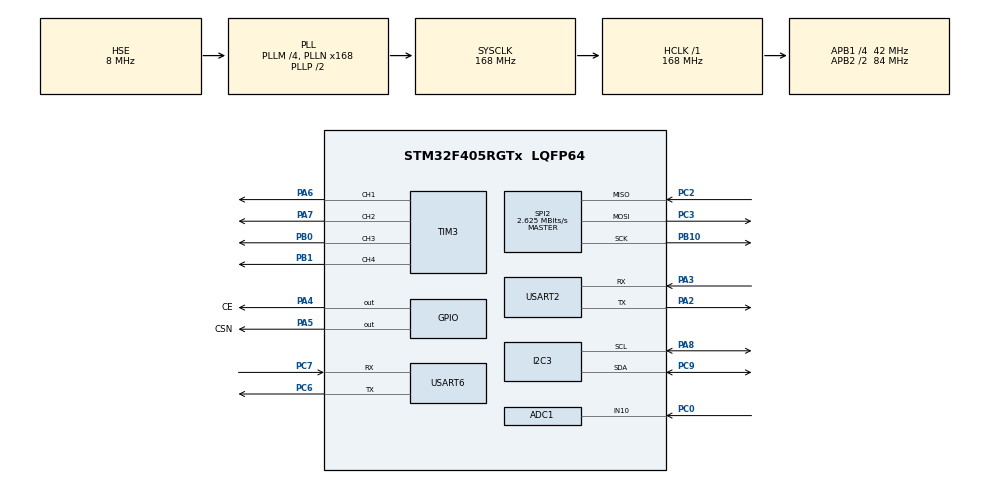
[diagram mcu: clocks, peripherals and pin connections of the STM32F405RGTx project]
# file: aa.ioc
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ADC1.Channel-0\#ChannelRegularConversion=ADC_CHANNEL_10
ADC1.NbrOfConversionFlag=1
ADC1.Rank-0\#ChannelRegularConversion=1
ADC1.SamplingTime-0\#ChannelRegularConversion=ADC_SAMPLETIME_3CYCLES
ADC1.master=1
Mcu.Family=STM32F4
Mcu.Name=STM32F405RGTx
Mcu.Package=LQFP64
NVIC.I2C3_EV_IRQn=true\:0\:0\:true\:false\:true
NVIC.PriorityGroup=NVIC_PRIORITYGROUP_4
NVIC.TIM7_IRQn=true\:0\:0\:false\:false\:true
NVIC.USART2_IRQn=true\:6\:0\:true\:false\:true
NVIC.USART6_IRQn=true\:6\:0\:true\:false\:true
PA2.Mode=Asynchronous
PA2.Signal=USART2_TX
PA3.Mode=Asynchronous
PA3.Signal=USART2_RX
PA4.GPIO_Label=CE
PA4.Signal=GPIO_Output
PA5.GPIO_Label=CSN
PA5.Signal=GPIO_Output
PA6.Signal=S_TIM3_CH1
PA7.Signal=S_TIM3_CH2
PA8.Mode=I2C
PA8.Signal=I2C3_SCL
PB0.Signal=S_TIM3_CH3
PB1.Signal=S_TIM3_CH4
PB10.Mode=Full_Duplex_Master
PB10.Signal=SPI2_SCK
PC0.Signal=ADCx_IN10
PC2.Mode=Full_Duplex_Master
PC2.Signal=SPI2_MISO
PC3.Mode=Full_Duplex_Master
PC3.Signal=SPI2_MOSI
PC6.Mode=Asynchronous
PC6.Signal=USART6_TX
PC7.Mode=Asynchronous
PC7.Signal=USART6_RX
PC9.Mode=I2C
PC9.Signal=I2C3_SDA
PH0-OSC_IN.Mode=HSE-External-Oscillator
PH0-OSC_IN.Signal=RCC_OSC_IN
PH1-OSC_OUT.Mode=HSE-External-Oscillator
PH1-OSC_OUT.Signal=RCC_OSC_OUT
ProjectManager.HeapSize=0x200
ProjectManager.StackSize=0x400
ProjectManager.TargetToolchain=EWARM
RCC.48MHZClocksFreq_Value=84000000
RCC.AHBFreq_Value=168000000
RCC.APB1CLKDivider=RCC_HCLK_DIV4
RCC.APB1Freq_Value=42000000
RCC.APB1TimFreq_Value=84000000
RCC.APB2CLKDivider=RCC_HCLK_DIV2
RCC.APB2Freq_Value=84000000
RCC.APB2TimFreq_Value=168000000
RCC.CortexFreq_Value=168000000
RCC.HCLKFreq_Value=168000000
RCC.HSE_VALUE=8000000
RCC.HSI_VALUE=16000000
RCC.LSE_VALUE=32768
RCC.PLLM=4
RCC.PLLN=168
RCC.PLLSourceVirtual=RCC_PLLSOURCE_HSE
RCC.SYSCLKFreq_VALUE=168000000
RCC.SYSCLKSource=RCC_SYSCLKSOURCE_PLLCLK
RCC.VCOOutputFreq_Value=336000000
SH.ADCx_IN10.0=ADC1_IN10,IN10
SH.S_TIM3_CH1.0=TIM3_CH1,PWM Generation1 CH1
SH.S_TIM3_CH2.0=TIM3_CH2,PWM Generation2 CH2
SH.S_TIM3_CH3.0=TIM3_CH3,PWM Generation3 CH3
SH.S_TIM3_CH4.0=TIM3_CH4,PWM Generation4 CH4
SPI2.BaudRatePrescaler=SPI_BAUDRATEPRESCALER_16
SPI2.CalculateBaudRate=2.625 MBits/s
SPI2.Direction=SPI_DIRECTION_2LINES
SPI2.Mode=SPI_MODE_MASTER
SPI2.VirtualType=VM_MASTER
TIM3.Channel-PWM\ Generation1\ CH1=TIM_CHANNEL_1
TIM3.Channel-PWM\ Generation2\ CH2=TIM_CHANNEL_2
TIM3.Channel-PWM\ Generation3\ CH3=TIM_CHANNEL_3
TIM3.Channel-PWM\ Generation4\ CH4=TIM_CHANNEL_4
TIM7.Period=1999
TIM7.Prescaler=82
USART2.VirtualMode=VM_ASYNC
USART6.VirtualMode=VM_ASYNC
VP_TIM6_VS_ClockSourceINT.Mode=Enable_Timer
VP_TIM7_VS_ClockSourceINT.Mode=Enable_Timer
board=aa

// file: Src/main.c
/**
  ******************************************************************************
  * File Name          : main.c
  * Description        : Main program body
  ******************************************************************************
  ** This notice applies to any and all portions of this file
  * that are not between comment pairs USER CODE BEGIN and
  * USER CODE END. Other portions of this file, whether
  * inserted by the user or by software development tools
  * are owned by their respective copyright owners.
  *
  * COPYRIGHT(c) 2017 STMicroelectronics
  *
  * Redistribution and use in source and binary forms, with or without modification,
  * are permitted provided that the following conditions are met:
  *   1. Redistributions of source code must retain the above copyright notice,
  *      this list of conditions and the following disclaimer.
  *   2. Redistributions in binary form must reproduce the above copyright notice,
  *      this list of conditions and the following disclaimer in the documentation
  *      and/or other materials provided with the distribution.
  *   3. Neither the name of STMicroelectronics nor the names of its contributors
  *      may be used to endorse or promote products derived from this software
  *      without specific prior written permission.
  *
  * THIS SOFTWARE IS PROVIDED BY THE COPYRIGHT HOLDERS AND CONTRIBUTORS "AS IS"
  * AND ANY EXPRESS OR IMPLIED WARRANTIES, INCLUDING, BUT NOT LIMITED TO, THE
  * IMPLIED WARRANTIES OF MERCHANTABILITY AND FITNESS FOR A PARTICULAR PURPOSE ARE
  * DISCLAIMED. IN NO EVENT SHALL THE COPYRIGHT HOLDER OR CONTRIBUTORS BE LIABLE
  * FOR ANY DIRECT, INDIRECT, INCIDENTAL, SPECIAL, EXEMPLARY, OR CONSEQUENTIAL
  * DAMAGES (INCLUDING, BUT NOT LIMITED TO, PROCUREMENT OF SUBSTITUTE GOODS OR
  * SERVICES; LOSS OF USE, DATA, OR PROFITS; OR BUSINESS INTERRUPTION) HOWEVER
  * CAUSED AND ON ANY THEORY OF LIABILITY, WHETHER IN CONTRACT, STRICT LIABILITY,
  * OR TORT (INCLUDING NEGLIGENCE OR OTHERWISE) ARISING IN ANY WAY OUT OF THE USE
  * OF THIS SOFTWARE, EVEN IF ADVISED OF THE POSSIBILITY OF SUCH DAMAGE.
  *
  ******************************************************************************
  */
#include "main.h"
#include "stm32f4xx_hal.h"
#include "adc.h"
#include "i2c.h"
#include "spi.h"
#include "tim.h"
#include "usart.h"
#include "gpio.h"

/* USER CODE BEGIN Includes */
#include "mpu9250.h"
#include "nrf24l01.h"
#include "command.h"
#include "base.h"
#include "ms5611.h"
#include "dma.h"
#include "angle.h"
/* USER CODE END Includes */

/* USER CODE BEGIN PV */
/* Private variables ---------------------------------------------------------*/

/* USER CODE END PV */

void SystemClock_Config(void);

/* USER CODE BEGIN PFP */
/* Private function prototypes -----------------------------------------------*/

/* USER CODE END PFP */

/* USER CODE BEGIN 0 */
extern MPU_Dev MPU9250;
extern NRF_Dev NRF24l01;
extern MS5611_Dev MS5611;

extern char Send_Wave_Flag;
extern char buffer_rx[30];
extern char buffer_rx_OK;
extern char buffer_rx_temp;

void Set_Speed(int CHn,float speed);
/* USER CODE END 0 */
extern float Accel_E[3];
int main(void)
{

  /* MCU Configuration----------------------------------------------------------*/

  /* Reset of all peripherals, Initializes the Flash interface and the Systick. */
  HAL_Init();

  /* Configure the system clock */
  SystemClock_Config();

  /* Initialize all configured peripherals */
  MX_DMA_Init();
  MX_GPIO_Init();
  MX_TIM6_Init();
  MX_I2C3_Init();           //i2C初始化中，调用了delay_us函数，所以TIM6必须先初始化

  MX_SPI2_Init();
  MX_ADC1_Init();
  MX_USART2_UART_Init();
  MX_TIM3_Init();
  MX_USART6_UART_Init();

  /* USER CODE BEGIN 2 */
  MPU9250_Init(&MPU9250);
  NRF_Init(&NRF24l01);
  MS5611_Init(&MS5611);
  command_init();
  MX_TIM7_Init();   //等所有的都初始化完毕，在初始化定时器（开启定时中断）
//
  uprintf("hello,world!\r\n");
  /* USER CODE END 2 */
  load_prams(0,0,0);
  /* Infinite loop */
  /* USER CODE BEGIN WHILE */

  /*
正方向：
WX ：前倾为正
WY：左倾为正
WZ：逆时针为正
ROLL :前倾为正
*/
  while (1)
  {
  /* USER CODE END WHILE */
    //nrf_send_message(&NRF24l01);
    //nrf_receive(&NRF24l01);
    if(buffer_rx_OK){
      analize(buffer_rx);
      buffer_rx_OK=0;
    }
    if(Send_Wave_Flag){
      debug_send_wave();
      //uprintf("%f\r\n",MS5611_Height);
      //HAL_Delay(20);
    }
    Get_Ace_Offset();
  }

}

/** System Clock Configuration
*/
void SystemClock_Config(void)
{

  RCC_OscInitTypeDef RCC_OscInitStruct;
  RCC_ClkInitTypeDef RCC_ClkInitStruct;

    /**Configure the main internal regulator output voltage
    */
  __HAL_RCC_PWR_CLK_ENABLE();

  __HAL_PWR_VOLTAGESCALING_CONFIG(PWR_REGULATOR_VOLTAGE_SCALE1);

    /**Initializes the CPU, AHB and APB busses clocks
    */
  RCC_OscInitStruct.OscillatorType = RCC_OSCILLATORTYPE_HSE;
  RCC_OscInitStruct.HSEState = RCC_HSE_ON;
  RCC_OscInitStruct.PLL.PLLState = RCC_PLL_ON;
  RCC_OscInitStruct.PLL.PLLSource = RCC_PLLSOURCE_HSE;
  RCC_OscInitStruct.PLL.PLLM = 4;
  RCC_OscInitStruct.PLL.PLLN = 168;
  RCC_OscInitStruct.PLL.PLLP = RCC_PLLP_DIV2;
  RCC_OscInitStruct.PLL.PLLQ = 4;
  if (HAL_RCC_OscConfig(&RCC_OscInitStruct) != HAL_OK)
  {
    _Error_Handler(__FILE__, __LINE__);
  }

    /**Initializes the CPU, AHB and APB busses clocks
    */
  RCC_ClkInitStruct.ClockType = RCC_CLOCKTYPE_HCLK|RCC_CLOCKTYPE_SYSCLK
                              |RCC_CLOCKTYPE_PCLK1|RCC_CLOCKTYPE_PCLK2;
  RCC_ClkInitStruct.SYSCLKSource = RCC_SYSCLKSOURCE_PLLCLK;
  RCC_ClkInitStruct.AHBCLKDivider = RCC_SYSCLK_DIV1;
  RCC_ClkInitStruct.APB1CLKDivider = RCC_HCLK_DIV4;
  RCC_ClkInitStruct.APB2CLKDivider = RCC_HCLK_DIV2;

  if (HAL_RCC_ClockConfig(&RCC_ClkInitStruct, FLASH_LATENCY_5) != HAL_OK)
  {
    _Error_Handler(__FILE__, __LINE__);
  }

    /**Configure the Systick interrupt time
    */
  HAL_SYSTICK_Config(HAL_RCC_GetHCLKFreq()/1000);

    /**Configure the Systick
    */
  HAL_SYSTICK_CLKSourceConfig(SYSTICK_CLKSOURCE_HCLK);

  /* SysTick_IRQn interrupt configuration */
  HAL_NVIC_SetPriority(SysTick_IRQn, 0, 0);
}

void _Error_Handler(char * file, int line)
{
  while(1)
  {
  }
}

/************************ (C) COPYRIGHT STMicroelectronics *****END OF FILE****/
